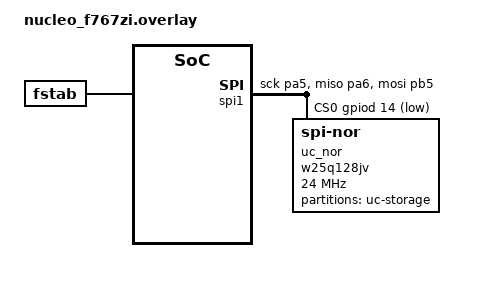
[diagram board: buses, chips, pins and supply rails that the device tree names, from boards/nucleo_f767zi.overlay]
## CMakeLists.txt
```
# SPDX-License-Identifier: Apache-2.0

cmake_minimum_required(VERSION 3.20.0)

find_package(Zephyr REQUIRED HINTS $ENV{ZEPHYR_BASE})
project(bacnet_uc)

target_include_directories(app PRIVATE include src)

target_sources(app PRIVATE
  src/main.c
  src/common/uc_common.c
  src/storage/uc_storage.c
  src/config/uc_config.c
  src/net/uc_net.c
  src/bacnet/uc_bn_node.c
  src/bacnet/uc_bn_local.c
  src/bacnet/uc_bn_client.c
  src/bacnet/uc_bn_cov.c
  src/io/uc_io.c
)

target_sources_ifdef(CONFIG_LOG_BACKEND_FS app PRIVATE
  src/storage/uc_log_sync.c
)

target_sources_ifdef(CONFIG_UC_APPS app PRIVATE
  src/apps/uc_app_mgr.c
  src/apps/uc_app_host_api.c
)

target_sources_ifdef(CONFIG_UC_MGMT app PRIVATE
  src/mgmt/uc_mgmt_util.c
  src/mgmt/uc_mgmt_app.c
  src/mgmt/uc_mgmt_io.c
  src/mgmt/uc_mgmt_node.c
)

target_sources_ifdef(CONFIG_UC_SHELL app PRIVATE
  src/shell/uc_shell.c
)
```

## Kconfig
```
# SPDX-License-Identifier: Apache-2.0

mainmenu "BACnet-uc firmware"

menu "BACnet-uc"

config UC_FW_VERSION
	string "Firmware version string"
	default "0.1.0"

# --- storage ------------------------------------------------------------

config UC_STORAGE_FORMAT_ON_FAIL
	bool "Format /lfs when mounting fails"
	default y

# /lfs on a jedec,spi-nor flash (NUCLEO-F767ZI overlay): the flash page
# size of the driver becomes the LittleFS block size. 4 KiB (the erase
# sector of the W25Q family) instead of the driver's 64 KiB default gives
# 4096 blocks on a 16 MiB chip and small files one 4 KiB block each. Set
# here rather than in the board .conf so that builds without the flash node
# (uc-ramfs snippet) do not warn about an unused assignment.
config SPI_NOR_FLASH_LAYOUT_PAGE_SIZE
	default 4096
	depends on SPI_NOR

# --- configuration documents -------------------------------------------

config UC_CONFIG_DOC_MAX
	int "Maximum size of a configuration document (bytes)"
	default 8192

config UC_DEVICE_INSTANCE_DEFAULT
	int "Default BACnet device instance (no device.json)"
	range 0 4194302
	default 260001

config UC_DEVICE_NAME_DEFAULT
	string "Default BACnet device name (no device.json)"
	default "bacnet-uc"

# --- BACnet -------------------------------------------------------------

config UC_BACNET_THREAD_STACK_SIZE
	int "BACnet thread stack size"
	default 8192

config UC_BACNET_THREAD_PRIORITY
	int "BACnet thread priority"
	default 5

config UC_BACNET_POLL_MS
	int "BACnet loop period (ms)"
	default 5

config UC_BACNET_EXEC_QUEUE_LEN
	int "Executor queue length"
	default 16

config UC_BACNET_CLIENT_SLOTS
	int "Concurrent remote client transactions"
	default 8

config UC_BACNET_COV_SUBS_MAX
	int "Application COV subscriptions (local + remote)"
	default 16

config UC_BACNET_COV_POLL_MS
	int "Poll period when a remote device does not support COV (ms)"
	default 2000

config UC_BACNET_STATIC_BINDINGS_MAX
	int "Static device bindings from device.json"
	default 16

config UC_BACNET_OBJECTS_MAX
	int "Owner table size (objects created by IO, apps and CreateObject)"
	default 64

config UC_BACNET_REMOTE_CREATE_DELETE
	bool "Accept CreateObject/DeleteObject from the network"
	help
	  n: both services are not registered; BACnet clients get a Reject
	  (unrecognized-service) and Protocol_Services_Supported omits them.
	  y: clients may create AI, AO, AV, BI, BO, BV, MSI, MSO and MSV
	  objects (owner "network", one owner table entry each, RAM only) and
	  delete only those. Objects of the system, of io.json and of
	  applications answer Error object/object-deletion-not-permitted.

config UC_BACNET_REQUIRE_PASSWORD
	bool "Refuse ReinitializeDevice and DCC without a configured password"
	default y
	help
	  ReinitializeDevice and DeviceCommunicationControl use device.json
	  bacnet.password (1..20 characters) when it is set. Without one:
	  y: both services answer Error security/password-failure;
	  n: both services are accepted without a password (open device).

config UC_NET_WAIT_MS
	int "Time to wait for an IPv4 address before starting BACnet anyway (ms)"
	default 30000

# --- IO -----------------------------------------------------------------

config UC_IO_POINTS_MAX
	int "IO points in io.json"
	default 32

# --- WebAssembly applications ------------------------------------------

config UC_APPS
	bool "WebAssembly applications"
	default y
	select WAMR

# Table sizes are used by the configuration module even without the
# runtime (apps.json is still parsed and served), so they live outside
# "if UC_APPS".
config UC_APPS_MAX
	int "Installed applications"
	range 1 8
	default 4

config UC_APP_PARAMS_MAX
	int "Parameters per application"
	default 16

if UC_APPS

config UC_APP_POOL_SIZE
	int "WAMR memory pool (bytes)"
	default 131072
	help
	  All module images, instances, linear memories and app heaps are
	  allocated from this pool.

config UC_APP_THREAD_STACK_SIZE
	int "Native stack of an application thread"
	default 8192

config UC_APP_THREAD_PRIORITY
	int "Application thread priority (preemptible, lower than BACnet)"
	default 10

config UC_APP_MAX_FILE_SIZE
	int "Maximum module size (bytes)"
	default 262144

config UC_APP_WATCHDOG_MS
	int "Execution time budget of one application callback (ms)"
	default 2000
	help
	  A callback (uc_app_init, uc_app_tick, uc_app_on_cov, uc_app_on_write,
	  uc_app_deinit) that executes longer is terminated
	  (wasm_runtime_terminate()) and the application enters "failed". Time
	  blocked in remote requests and kv file access does not count, except
	  while a stop is pending: a stop cancels the blocking host calls, so
	  the rest of the running callback and uc_app_deinit() each end within
	  this period, and uc_apps_stop() waits at most 2 x this period + 8 s.
	  The timer runs in real time on the boards. On native_sim simulated
	  time stands still while a callback computes, so the timer cannot stop
	  a busy loop there; WAMR_INSTRUCTION_LIMIT (an instruction budget per
	  call, interpreter only) does.

config UC_APP_EVENT_QUEUE_LEN
	int "Pending events per application"
	default 16

config UC_APP_KV_VALUE_MAX
	int "Maximum value size of the app key/value store"
	default 256

endif # UC_APPS

# --- management ---------------------------------------------------------

config UC_MGMT
	bool "Custom MCUmgr groups (uc_app, uc_io, uc_node)"
	default y
	depends on MCUMGR

config UC_SHELL
	bool "'uc' shell commands"
	default y
	depends on SHELL

module = UC
module-str = BACnet-uc
source "subsys/logging/Kconfig.template.log_config"

endmenu

source "Kconfig.zephyr"
```

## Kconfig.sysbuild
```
# SPDX-License-Identifier: Apache-2.0
#
# Sysbuild Kconfig of the BACnet-uc firmware (west build --sysbuild only).
#
# NUCLEO-F767ZI: the image slots consist of three 256 KiB sectors. In the
# default swap-using-offset mode the secondary slot must hold one extra
# sector, which would limit the firmware to 512 KiB; swap using the board's
# scratch partition keeps the full 768 KiB slot.

choice MCUBOOT_MODE
	default MCUBOOT_MODE_SWAP_SCRATCH if BOARD_NUCLEO_F767ZI
endchoice

source "share/sysbuild/Kconfig"
```

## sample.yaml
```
# SPDX-License-Identifier: Apache-2.0
#
# Twister build scenarios for the BACnet-uc firmware (build only; runtime
# tests are in tests/unit and in the MCP harness):
#
#   west twister -T BACNet-uc/firmware -p native_sim/native/64 \
#       -p nucleo_f767zi -p frdm_mcxn947/mcxn947/cpu0
sample:
  name: BACnet-uc firmware
  description: >
    BACnet/IP node with LittleFS, MCUmgr/SMP management and WebAssembly
    applications (WAMR).
common:
  build_only: true
  tags:
    - bacnet_uc
  platform_allow:
    - native_sim/native/64
    - nucleo_f767zi
    - frdm_mcxn947/mcxn947/cpu0
  integration_platforms:
    - native_sim/native/64
    - nucleo_f767zi
    - frdm_mcxn947/mcxn947/cpu0
tests:
  bacnet_uc.firmware:
    tags:
      - bacnet_uc
  bacnet_uc.firmware.syslog:
    extra_args:
      - EXTRA_CONF_FILE=overlay-syslog.conf
  bacnet_uc.firmware.ramfs:
    platform_allow:
      - nucleo_f767zi
      - frdm_mcxn947/mcxn947/cpu0
    integration_platforms:
      - nucleo_f767zi
    extra_args:
      - SNIPPET=uc-ramfs
  # MCUboot + signed firmware: sysbuild.conf, sysbuild/firmware.conf and
  # sysbuild/mcuboot.conf are applied by sysbuild itself (F767: swap using
  # scratch from Kconfig.sysbuild, MCXN947: swap using offset, the default).
  bacnet_uc.firmware.mcuboot.f767:
    sysbuild: true
    platform_allow:
      - nucleo_f767zi
    integration_platforms:
      - nucleo_f767zi
  bacnet_uc.firmware.mcuboot.mcxn947:
    sysbuild: true
    platform_allow:
      - frdm_mcxn947/mcxn947/cpu0
    integration_platforms:
      - frdm_mcxn947/mcxn947/cpu0
```

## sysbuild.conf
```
# SPDX-License-Identifier: Apache-2.0
#
# Sysbuild configuration, used only by `west build --sysbuild` (a plain
# `west build` ignores this file and builds the firmware without a
# bootloader, linked at the start of the flash).
#
#   west build --sysbuild -b nucleo_f767zi BACNet-uc/firmware -d build-f767-mcuboot
#   west flash -d build-f767-mcuboot      # MCUboot + signed firmware
#
# Result: MCUboot in boot_partition, the firmware (signed with the MCUboot
# development key, NOT for production) in slot0_partition, firmware updates
# through the SMP image group (uc harness / mcumgr / smpmgr "image upload",
# "image test", "reset"). sysbuild/firmware.conf adds the application
# settings for the image group, sysbuild/mcuboot.conf the bootloader
# settings. The swap mode per board is selected in Kconfig.sysbuild:
#   nucleo_f767zi              swap using scratch (256 KiB sectors; slot0
#                              and slot1 768 KiB, scratch 256 KiB)
#   frdm_mcxn947/mcxn947/cpu0  swap using offset (8 KiB sectors, 984 KiB
#                              slots)
SB_CONFIG_BOOTLOADER_MCUBOOT=y
SB_CONFIG_BOOT_SIGNATURE_TYPE_ECDSA_P256=y
```

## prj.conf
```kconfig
# SPDX-License-Identifier: Apache-2.0
#
# BACnet-uc firmware - common configuration for all boards.
# Board specifics live in boards/<board>.conf and boards/<board>.overlay.

# --- kernel / libc -------------------------------------------------------
CONFIG_MAIN_STACK_SIZE=4096
CONFIG_SYSTEM_WORKQUEUE_STACK_SIZE=4096
CONFIG_HEAP_MEM_POOL_SIZE=65536
CONFIG_REQUIRES_FULL_LIBC=y
CONFIG_CBPRINTF_FP_SUPPORT=y
CONFIG_THREAD_NAME=y
CONFIG_THREAD_STACK_INFO=y
CONFIG_THREAD_MONITOR=y
CONFIG_INIT_STACKS=y
CONFIG_REBOOT=y
CONFIG_ASSERT=n

# --- storage -------------------------------------------------------------
# LittleFS at /lfs from the devicetree fstab entry "uc_lfs" (board overlays,
# snippet uc-ramfs). uc_storage formats it when mounting fails
# (CONFIG_UC_STORAGE_FORMAT_ON_FAIL).
CONFIG_FLASH=y
CONFIG_FLASH_MAP=y
CONFIG_FILE_SYSTEM=y
CONFIG_FILE_SYSTEM_LITTLEFS=y
CONFIG_FILE_SYSTEM_MKFS=y
# open files: log backend, SMP fs group, config, apps, kv store. The file
# cache heap is NUM_FILES x CACHE_SIZE; CACHE_SIZE must equal the largest
# fstab "cache-size" (256 in all overlays and the uc-ramfs snippet).
CONFIG_FS_LITTLEFS_NUM_FILES=8
CONFIG_FS_LITTLEFS_NUM_DIRS=4
CONFIG_FS_LITTLEFS_CACHE_SIZE=256
# configuration documents (uc_config parses numbers itself, no JSON FP support needed)
CONFIG_JSON_LIBRARY=y
# SHA-256 of files (uc_storage_sha256, app install verification)
CONFIG_PSA_CRYPTO=y
CONFIG_PSA_WANT_ALG_SHA_256=y

# --- logging -------------------------------------------------------------
# Runtime level of all sources from device.json "log.level" (default inf).
# BACnet-uc modules are compiled with debug messages so that "dbg" works.
CONFIG_LOG=y
CONFIG_LOG_MODE_DEFERRED=y
CONFIG_LOG_BUFFER_SIZE=4096
CONFIG_LOG_RUNTIME_FILTERING=y
CONFIG_UC_LOG_LEVEL_DBG=y
CONFIG_LOG_BACKEND_FS=y
CONFIG_LOG_BACKEND_FS_DIR="/lfs/log"
CONFIG_LOG_BACKEND_FS_FILES_LIMIT=4
CONFIG_LOG_BACKEND_FS_FILE_SIZE=16384

# --- shell ---------------------------------------------------------------
CONFIG_SHELL=y
CONFIG_SHELL_STACK_SIZE=4096
CONFIG_KERNEL_SHELL=y
CONFIG_FILE_SYSTEM_SHELL=y
CONFIG_NET_SHELL=y

# --- networking ----------------------------------------------------------
CONFIG_NETWORKING=y
CONFIG_NET_IPV4=y
CONFIG_NET_IPV6=n
CONFIG_NET_UDP=y
CONFIG_NET_TCP=n
CONFIG_NET_SOCKETS=y
CONFIG_NET_DHCPV4=y
CONFIG_NET_MGMT=y
CONFIG_NET_MGMT_EVENT=y
CONFIG_NET_CONNECTION_MANAGER=y
CONFIG_NET_IF_UNICAST_IPV4_ADDR_COUNT=2
CONFIG_NET_IF_MCAST_IPV4_ADDR_COUNT=2
CONFIG_NET_MAX_CONTEXTS=10
CONFIG_ZVFS_OPEN_MAX=16
CONFIG_NET_PKT_RX_COUNT=16
CONFIG_NET_PKT_TX_COUNT=16
CONFIG_NET_BUF_RX_COUNT=32
CONFIG_NET_BUF_TX_COUNT=32
CONFIG_NET_TX_STACK_SIZE=2048
CONFIG_NET_RX_STACK_SIZE=2048

# --- management (MCUmgr / SMP) --------------------------------------------
CONFIG_NET_BUF=y
CONFIG_ZCBOR=y
CONFIG_MCUMGR=y
CONFIG_MCUMGR_TRANSPORT_UDP=y
CONFIG_MCUMGR_TRANSPORT_UDP_IPV4=y
CONFIG_MCUMGR_TRANSPORT_UDP_MTU=1024
CONFIG_MCUMGR_TRANSPORT_NETBUF_SIZE=1152
CONFIG_BASE64=y
CONFIG_SHELL_BACKEND_DUMMY=y
CONFIG_MCUMGR_TRANSPORT_SHELL=y
# SMP over the console: every received line (<= 127 bytes) occupies one
# buffer until the shell thread has reassembled it. Clients size requests
# from the 1152-byte SMP buffer (os mcumgr_params) and a 1152-byte request
# is 13 lines sent back to back; with the default of 2 buffers lines are
# dropped ("Failed to alloc SMP buf"). ~2.4 KiB of RAM.
CONFIG_MCUMGR_TRANSPORT_SHELL_RX_BUF_COUNT=16
CONFIG_MCUMGR_GRP_OS=y
CONFIG_MCUMGR_GRP_OS_INFO=y
CONFIG_MCUMGR_GRP_OS_MCUMGR_PARAMS=y
CONFIG_MCUMGR_GRP_FS=y
# modules up to CONFIG_UC_APP_MAX_FILE_SIZE (256 KiB): the download chunk
# framing must hold offsets above 64 KiB
CONFIG_MCUMGR_GRP_FS_MAX_FILE_SIZE_4GB=y
# same limit as UC_PATH_MAX (96 incl. NUL): app key/value files are
# /lfs/data/<app>/<key>, up to 65 characters (default limit 64)
CONFIG_MCUMGR_GRP_FS_PATH_LEN=95
CONFIG_MCUMGR_GRP_FS_CHECKSUM_HASH=y
CONFIG_MCUMGR_GRP_FS_HASH_SHA256=y
CONFIG_MCUMGR_GRP_STAT=y
CONFIG_MCUMGR_GRP_SHELL=y
CONFIG_STATS=y
# SMP handlers run in this work queue: the uc_node reload handler parses
# JSON documents and uc_app install hashes files (default 2048).
CONFIG_MCUMGR_TRANSPORT_WORKQUEUE_STACK_SIZE=4096

# --- BACnet --------------------------------------------------------------
CONFIG_BACNETSTACK=y
CONFIG_BACNET_BASIC_SERVER=y
CONFIG_BACDL_BIP=y
CONFIG_BACDL_BIP_PORT=47808
CONFIG_BACNET_MAX_TSM_TRANSACTIONS=16
CONFIG_BACNET_MAX_ADDRESS_CACHE=32
CONFIG_BACNET_MAX_CHARACTER_STRING_BYTES=64
CONFIG_BACNET_BASIC_COV_SUBSCRIPTIONS_SIZE=16
CONFIG_BACNET_BASIC_OBJECT_NETWORK_PORT=y
CONFIG_BACNET_BASIC_OBJECT_ANALOG_INPUT=y
CONFIG_BACNET_BASIC_OBJECT_ANALOG_OUTPUT=y
CONFIG_BACNET_BASIC_OBJECT_ANALOG_VALUE=y
CONFIG_BACNET_BASIC_OBJECT_BINARY_INPUT=y
CONFIG_BACNET_BASIC_OBJECT_BINARY_OUTPUT=y
CONFIG_BACNET_BASIC_OBJECT_BINARY_VALUE=y
CONFIG_BACNET_BASIC_OBJECT_MULTISTATE_INPUT=y
CONFIG_BACNET_BASIC_OBJECT_MULTISTATE_OUTPUT=y
CONFIG_BACNET_BASIC_OBJECT_MULTISTATE_VALUE=y
# Application value types: minimal set + DOUBLE (+ HOST_N_PORT, used by
# netport.c). Keeps BACNET_APPLICATION_DATA_VALUE at ~112 bytes instead of
# ~1.5 KB with all types (the default when none is selected).
CONFIG_BACAPP_MINIMAL=y
CONFIG_BACAPP_DOUBLE=y
CONFIG_BACAPP_HOST_N_PORT=y
# The stack is only touched by the BACnet thread; the stack's own 'bacnet'
# shell commands would call it from the shell thread.
CONFIG_BACNETSTACK_BACNET_SHELL=n

# --- IO ------------------------------------------------------------------
# Drivers behind the IO channel catalog (boards/io/<board>.dtsi). The
# controller drivers follow the devicetree; on native_sim all channels are
# simulated and only the emulators get built.
CONFIG_GPIO=y
CONFIG_ADC=y
CONFIG_PWM=y

# --- WebAssembly ---------------------------------------------------------
CONFIG_UC_APPS=y
CONFIG_WAMR_FAST_INTERP=y
# The application watchdog (CONFIG_UC_APP_WATCHDOG_MS) stops runaway
# callbacks with wasm_runtime_terminate(), which interrupts a running
# interpreter only with the thread manager's suspend-flag checks.
CONFIG_WAMR_THREAD_MGR=y
```

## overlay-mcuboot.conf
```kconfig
# SPDX-License-Identifier: Apache-2.0
#
# Firmware image for an MCUboot that is already on the board (built
# separately), without sysbuild:
#
#   west build -b nucleo_f767zi BACNet-uc/firmware -- \
#       -DEXTRA_CONF_FILE=overlay-mcuboot.conf
#
# With `west build --sysbuild` this is done by sysbuild.conf and
# sysbuild/firmware.conf instead. The image is linked to slot0_partition
# (zephyr,code-partition) and signed by west (zephyr.signed.bin) when
# CONFIG_MCUBOOT_SIGNATURE_KEY_FILE is set.
CONFIG_BOOTLOADER_MCUBOOT=y
CONFIG_FLASH=y
CONFIG_FLASH_MAP=y
CONFIG_STREAM_FLASH=y
CONFIG_IMG_MANAGER=y
CONFIG_MCUBOOT_IMG_MANAGER=y
CONFIG_MCUMGR_GRP_IMG=y
CONFIG_MCUMGR_GRP_OS_BOOTLOADER_INFO=y
```

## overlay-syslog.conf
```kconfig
# SPDX-License-Identifier: Apache-2.0
#
# Remote logging: every log message (all modules and the WebAssembly apps'
# uc_log()) is also sent as an RFC 5424 syslog message over UDP.
#
#   west build -b <board> BACNet-uc/firmware -- \
#       -DEXTRA_CONF_FILE=overlay-syslog.conf \
#       '-DCONFIG_LOG_BACKEND_NET_SERVER="192.168.10.10:514"'
#
# Server syntax: "a.b.c.d[:port]" (UDP, default port 514) or
# "tcp://a.b.c.d[:port]". With DHCPv4 the log server option (7) of the
# DHCP server overrides the address. The backend starts when the network
# is connected (connection manager) and uses the device-wide runtime log
# level (device.json "log.level").
CONFIG_LOG_BACKEND_NET=y
CONFIG_LOG_BACKEND_NET_SERVER="192.0.2.1:514"
CONFIG_LOG_BACKEND_NET_AUTOSTART=y
CONFIG_LOG_BACKEND_NET_USE_DHCPV4_OPTION=y

# syslog HOSTNAME: "bacnet-uc-" + last MAC bytes, distinct per node
CONFIG_NET_HOSTNAME_ENABLE=y
CONFIG_NET_HOSTNAME="bacnet-uc"
CONFIG_NET_HOSTNAME_UNIQUE=y
```

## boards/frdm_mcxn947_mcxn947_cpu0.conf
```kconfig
# SPDX-License-Identifier: Apache-2.0
#
# FRDM-MCXN947 cpu0: Cortex-M33 150 MHz, 2 MiB internal flash, 384 KiB RAM
# used by Zephyr (sram0, see the overlay) + 96 KiB SRAMX, ENET QOS
# Ethernet, /lfs on the 8 MiB FlexSPI NOR flash (see
# frdm_mcxn947_mcxn947_cpu0.overlay).

# Hardware floating point; WAMR is then built for THUMBV8M.MAIN_VFP and AOT
# modules must be compiled with the hard-float ABI.
CONFIG_FPU=y
CONFIG_FP_HARDABI=y

# Ethernet (eth_nxp_enet_qos)
CONFIG_NET_L2_ETHERNET=y

# RAM budget. SRAMX (96 KiB): WAMR pool (chosen uc,app-pool in the
# overlay). SRAM A-G (384 KiB, see the overlay): kernel heap 64 KiB
# (k_malloc: JSON documents, parse scratch, shell/SMP snapshots), malloc
# arena 64 KiB (picolibc malloc: bacnet-stack objects created from io.json
# and by apps, PSA crypto) and ~230 KiB of static data (network buffers,
# thread stacks, BACnet tables, configuration caches); the rest (~33 KiB)
# is margin. The arena has a fixed size so that the linker fails instead of
# silently shrinking it (default -1: whatever RAM is left). Minimum arena:
# 24 KiB (uc-ramfs snippet: 32 KiB, see its boards/ram.conf).
CONFIG_UC_APP_POOL_SIZE=98304
CONFIG_HEAP_MEM_POOL_SIZE=65536
CONFIG_COMMON_LIBC_MALLOC_ARENA_SIZE=65536
```

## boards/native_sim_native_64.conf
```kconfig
# SPDX-License-Identifier: Apache-2.0
#
# native_sim/native/64 (64-bit host executable build/zephyr/zephyr.exe).
#
# Networking: Native Simulator Offloaded Sockets (NSOS). Every Zephyr socket
# is a host socket: SMP listens on UDP 1337 and BACnet/IP on the device.json
# UDP port (default 47808) of the host. Run several nodes on one host with
# distinct bacnet.udp_port values and bacnet.static_bindings (127.0.0.1) in
# device.json, and a distinct --flash=<file> per node.
#
# NSOS provides one offloaded interface ("nsos_socket") without IPv4
# configuration and without DHCP. The BACnet/IP port code (bacnet-stack-zephyr
# bip-init.c) needs an IPv4 address and netmask on the interface to derive
# its own address and the broadcast address, so uc_net assigns one:
#   - device.json network.dhcp=false: network.ipv4/netmask (must be an
#     address of the host, otherwise bind() fails),
#   - otherwise: 127.0.0.1/255.0.0.0 (loopback).
# NSOS does not forward SO_BROADCAST to the host socket, so the host rejects
# BACnet broadcasts (Who-Is, I-Am); bind remote devices with static bindings.
#
# The TAP Ethernet driver (would need /dev/net/tun and root) is disabled so
# that the NSOS interface is the only and therefore the default interface.
CONFIG_NET_DRIVERS=y
CONFIG_NET_SOCKETS_OFFLOAD=y
CONFIG_NET_NATIVE_OFFLOADED_SOCKETS=y
CONFIG_ETH_NATIVE_TAP=n
CONFIG_ENTROPY_GENERATOR=y
CONFIG_TEST_RANDOM_GENERATOR=y
# NSOS uses AF_UNIX-sized socket addresses (110 bytes)
CONFIG_MCUMGR_TRANSPORT_NETBUF_USER_DATA_SIZE=112

# sys_reboot() (SMP os reset, uc_node reboot) restarts the executable with
# the same arguments instead of exiting.
CONFIG_NATIVE_SIM_REBOOT=y

# SMP over the console pty (harness SerialTransport, mcumgr/smpmgr serial):
# the shell's SMP transport needs an interrupt-driven shell backend; with the
# default polling backend multi-line SMP frames are lost.
CONFIG_UART_INTERRUPT_DRIVEN=y
CONFIG_SHELL_BACKEND_SERIAL_API_INTERRUPT_DRIVEN=y

# Storage: flash simulator backed by flash.bin, see the overlay.

# More room for WebAssembly modules than on the MCUs.
CONFIG_UC_APP_POOL_SIZE=262144
CONFIG_HEAP_MEM_POOL_SIZE=131072
```

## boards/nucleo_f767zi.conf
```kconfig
# SPDX-License-Identifier: Apache-2.0
#
# NUCLEO-F767ZI: Cortex-M7 216 MHz, 2 MiB flash, 384 KiB SRAM (zephyr,sram)
# + 128 KiB DTCM, RMII Ethernet, /lfs on an external SPI NOR flash (see
# nucleo_f767zi.overlay for the wiring).

# Hardware floating point; WAMR is then built for THUMBV7EM_VFP and AOT
# modules must be compiled with the hard-float ABI.
CONFIG_FPU=y
CONFIG_FP_HARDABI=y

# Ethernet (eth_stm32_hal, LAN8742A PHY)
CONFIG_NET_L2_ETHERNET=y

# /lfs: W25Q128JV on SPI1. CONFIG_SPI and CONFIG_SPI_NOR follow the
# devicetree (enabled by the jedec,spi-nor node of the overlay; the uc-ramfs
# snippet disables that node). The firmware Kconfig sets
# CONFIG_SPI_NOR_FLASH_LAYOUT_PAGE_SIZE=4096 (LittleFS blocks of 4 KiB, the
# W25Q sector size, instead of 64 KiB).

# RAM budget. DTCM (128 KiB): Ethernet DMA buffers ~12.3 KiB + WAMR pool
# 112 KiB (chosen uc,app-pool in the overlay). SRAM (384 KiB): kernel heap
# 64 KiB (k_malloc: JSON documents, parse scratch, shell/SMP snapshots),
# malloc arena 64 KiB (picolibc malloc: bacnet-stack objects created from
# io.json and by apps, PSA crypto) and ~230 KiB of static data (network
# buffers, thread stacks, BACnet tables, configuration caches); the rest
# (~33 KiB) is margin. The arena has a fixed size so that the linker fails
# instead of silently shrinking it (default -1: whatever RAM is left).
# Minimum arena: 24 KiB (uc-ramfs snippet: 32 KiB, see its boards/ram.conf).
CONFIG_UC_APP_POOL_SIZE=114688
CONFIG_HEAP_MEM_POOL_SIZE=65536
CONFIG_COMMON_LIBC_MALLOC_ARENA_SIZE=65536
```

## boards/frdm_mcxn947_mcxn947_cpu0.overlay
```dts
/*
 * SPDX-License-Identifier: Apache-2.0
 *
 * FRDM-MCXN947 (cpu0)
 *
 * Storage: the board's storage_partition on the 8 MiB Winbond W25Q64JV QSPI
 * NOR flash on FlexSPI (4 KiB erase blocks), shrunk to the first 8128 KiB
 * (0x000000-0x7EFFFF). The top 64 KiB (0x7F0000-0x7FFFFF) stay reserved for
 * the settings partition of the MQTT firmware in this repository (branch
 * claude/inter-session-communication-h989ye), so both firmwares can be
 * flashed alternately on one board without wiping each other's data.
 * LittleFS only ever formats this partition. The application runs from the
 * internal flash, so the external flash is used for data only.
 *
 * Network: ENET QOS with the on-board PHY (RMII). The board default
 * zephyr,random-mac-address is replaced by a MAC derived from the silicon
 * unique ID so that the node keeps its DHCP lease across reboots.
 *
 * RAM: the firmware does not use cpu1, so cpu0 gets SRAM A-G (384 KiB at
 * 0x20000000, the split suggested by the board's cpu0 dtsi) instead of the
 * default 320 KiB; SRAM H (32 KiB, shared memory) stays unused. The WAMR
 * pool (CONFIG_UC_APP_POOL_SIZE) fills SRAMX (96 KiB, chosen "uc,app-pool").
 * Budget: frdm_mcxn947_mcxn947_cpu0.conf.
 */

#include "io/frdm_mcxn947_mcxn947_cpu0.dtsi"

&sram0 {
	reg = <0x20000000 DT_SIZE_K(384)>;
};

/* Leave the top 64 KiB of the W25Q64 to other firmwares (see above). */
&storage_partition {
	reg = <0x0 0x7f0000>;
};

/* cpu1's RAM (SRAM G) is now part of sram0 */
/delete-node/ &sramg;

&enet_mac {
	/delete-property/ zephyr,random-mac-address;
	nxp,unique-mac;
};

/ {
	chosen {
		uc,app-pool = &sramx;
	};

	fstab {
		compatible = "zephyr,fstab";

		uc_lfs: lfs {
			compatible = "zephyr,fstab,littlefs";
			mount-point = "/lfs";
			partition = <&storage_partition>;
			automount;
			/* formatting is decided by uc_storage (CONFIG_UC_STORAGE_FORMAT_ON_FAIL) */
			no-format;
			read-size = <16>;
			prog-size = <16>;
			cache-size = <256>;
			lookahead-size = <256>;
			block-cycles = <512>;
		};
	};
};
```

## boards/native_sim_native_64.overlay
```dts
/*
 * SPDX-License-Identifier: Apache-2.0
 *
 * native_sim/native/64 (host executable).
 *
 * Storage: LittleFS on the flash simulator. The simulated flash is 2 MiB
 * with 4 KiB erase blocks and is backed by the file flash.bin in the
 * current working directory, so /lfs survives restarts. Useful options of
 * zephyr.exe:  --flash=<file>  (one file per simulated node),
 *              --flash_erase   (start with an erased flash),
 *              --flash_rm      (delete the file on exit).
 * The board's MCUboot secondary/scratch/storage partitions are replaced by
 * one 1580 KiB storage partition (the executable does not run from flash).
 */

#include "io/native_sim_native_64.dtsi"

/delete-node/ &slot1_partition;
/delete-node/ &scratch_partition;
/delete-node/ &storage_partition;

&flash0 {
	partitions {
		storage_partition: partition@75000 {
			label = "storage";
			reg = <0x00075000 0x0018b000>;
		};
	};
};

/ {
	fstab {
		compatible = "zephyr,fstab";

		uc_lfs: lfs {
			compatible = "zephyr,fstab,littlefs";
			mount-point = "/lfs";
			partition = <&storage_partition>;
			automount;
			/* formatting is decided by uc_storage (CONFIG_UC_STORAGE_FORMAT_ON_FAIL) */
			no-format;
			read-size = <16>;
			prog-size = <16>;
			cache-size = <256>;
			lookahead-size = <64>;
			block-cycles = <512>;
		};
	};
};
```

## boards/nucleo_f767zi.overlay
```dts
/*
 * SPDX-License-Identifier: Apache-2.0
 *
 * NUCLEO-F767ZI
 *
 * Storage: external SPI NOR flash, Winbond W25Q128JV (16 MiB, 4 KiB
 * sectors, 3.3 V), on SPI1 of the ST Zio connector CN7:
 *
 *   flash   MCU   connector
 *   CLK     PA5   CN7-10  (D13)
 *   DO      PA6   CN7-12  (D12)
 *   DI      PB5   CN7-13  (D22)   not PA7 (D11): PA7 is RMII CRS_DV of
 *                                 the on-board Ethernet PHY
 *   /CS     PD14  CN7-16  (D10)
 *   VCC     3V3   CN8-7,  GND  CN8-11
 *   /WP and /HOLD tied to 3V3 (on most W25Q breakout modules already)
 *
 * LittleFS uses the 4 KiB sectors as blocks (4096 blocks; the firmware
 * Kconfig sets CONFIG_SPI_NOR_FLASH_LAYOUT_PAGE_SIZE=4096), with the fstab
 * read/prog/cache sizes below (cache-size = CONFIG_FS_LITTLEFS_CACHE_SIZE).
 *
 * The internal flash is not used for data: without MCUboot the application
 * is linked at flash offset 0 and overlaps the board's storage_partition at
 * 0x10000 (the image is larger than 64 KiB).
 *
 * Network: on-board RMII Ethernet (LAN8742A); the MAC address is derived
 * from the MCU unique ID (stable across reboots).
 *
 * RAM: the WAMR pool (CONFIG_UC_APP_POOL_SIZE) lives in the 128 KiB DTCM
 * (chosen "uc,app-pool", see nucleo_f767zi.conf for the budget), next to
 * the Ethernet DMA descriptors and buffers (~12.3 KiB,
 * CONFIG_ETH_STM32_HAL_USE_DTCM_FOR_DMA_BUFFER). The 384 KiB SRAM1/2
 * (zephyr,sram) holds everything else.
 */

#include "io/nucleo_f767zi.dtsi"

&spi1 {
	pinctrl-0 = <&spi1_sck_pa5 &spi1_miso_pa6 &spi1_mosi_pb5>;
	pinctrl-names = "default";
	cs-gpios = <&gpiod 14 (GPIO_ACTIVE_LOW | GPIO_PULL_UP)>;
	status = "okay";

	uc_nor: w25q128jv@0 {
		compatible = "jedec,spi-nor";
		reg = <0>;
		spi-max-frequency = <DT_FREQ_M(24)>;
		jedec-id = [ef 40 18];
		size = <DT_SIZE_M(128)>; /* bits */
		has-dpd;
		t-enter-dpd = <3000>;
		t-exit-dpd = <3000>;
		status = "okay";

		partitions {
			compatible = "fixed-partitions";
			#address-cells = <1>;
			#size-cells = <1>;

			uc_storage_partition: partition@0 {
				label = "uc-storage";
				reg = <0x00000000 DT_SIZE_M(16)>;
			};
		};
	};
};

/ {
	chosen {
		uc,app-pool = &dtcm;
	};

	fstab {
		compatible = "zephyr,fstab";

		uc_lfs: lfs {
			compatible = "zephyr,fstab,littlefs";
			mount-point = "/lfs";
			partition = <&uc_storage_partition>;
			automount;
			/* formatting is decided by uc_storage (CONFIG_UC_STORAGE_FORMAT_ON_FAIL) */
			no-format;
			read-size = <16>;
			prog-size = <16>;
			cache-size = <256>;
			lookahead-size = <256>;
			block-cycles = <512>;
		};
	};
};
```

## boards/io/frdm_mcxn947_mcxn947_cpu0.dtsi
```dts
/*
 * SPDX-License-Identifier: Apache-2.0
 *
 * IO channel catalog: FRDM-MCXN947 cpu0 (included by
 * frdm_mcxn947_mcxn947_cpu0.overlay).
 *
 *   name  kind  hw    MCU pin  connector            notes
 *   di0   di    gpio  P0_23    SW2 user button      pressed = 1 (also Arduino A5)
 *   di1   di    gpio  P0_6     SW3 ISP button       pressed = 1
 *   di2   di    gpio  P0_29    Arduino D2           pull-up, contact to GND = 1
 *   di3   di    gpio  P0_30    Arduino D4           pull-up, contact to GND = 1
 *   do0   do    gpio  P0_10    RGB LED red          1 = on (also Arduino D9)
 *   do1   do    gpio  P0_27    RGB LED green        1 = on (also Arduino D10)
 *   do2   do    gpio  P1_2     RGB LED blue         1 = on (also Arduino D6)
 *   do3   do    gpio  P0_31    Arduino D7           push-pull, 1 = high
 *   do4   do    gpio  P0_28    Arduino D8           push-pull, 1 = high
 *   ai0   ai    adc   P0_14    Arduino A2           ADC0_B14, 0..1800 mV
 *   ai1   ai    adc   P0_22    Arduino A3           ADC0_A14, 0..1800 mV
 *   ai2   ai    adc   P0_15    Arduino A4           ADC0_B15, 0..1800 mV
 *   ao0   ao    pwm   P2_6     J3-15                FlexPWM1 SM0 A (pwm-0), 1 kHz
 *   ao1   ao    pwm   P2_7     J3-13                FlexPWM1 SM0 B (pwm-0), 1 kHz
 *   ao2   ao    pwm   P1_23    Arduino D3 (J1-8)    SCTimer0 OUT5 (pwm-1), 1 kHz
 *
 * Notes:
 * - LPADC0 uses the SoC VREF regulator at 1.8 V as reference (nxp,references
 *   of the SoC dtsi, voltage-ref 1); inputs above 1.8 V read as full scale.
 * - Arduino A0/A1 are not listed in the board's Arduino GPIO map and A5
 *   (P0_23) is SW2, so the catalog uses A2..A4.
 * - The RGB LED shares pins with Arduino D6/D9/D10 (P0_27 is also the LPSPI1
 *   chip select FC1_P3; LPSPI1 is not used by the firmware). Configuring the
 *   GPIO switches the pin mux to GPIO.
 * - Arduino D5 (P1_21) is ENET MDIO and is not used.
 * - FlexPWM1 SM0 pins P2_6/P2_7 are shared with SDHC0 D3/D2 and SAI0; the
 *   firmware enables neither.
 * - The DACs (DAC0 on Arduino D1 = P4_2, shared with LPUART2 TX; 14-bit DAC2
 *   on J3-2) are not in the catalog: the uc,io-channels binding has no DAC
 *   property.
 */

#include <zephyr/dt-bindings/adc/adc.h>
#include <zephyr/dt-bindings/adc/mcux-lpadc.h>
#include <zephyr/dt-bindings/gpio/gpio.h>
#include <zephyr/dt-bindings/pwm/pwm.h>
#include <nxp/mcx/MCXN947VDF-pinctrl.h>

&pinctrl {
	uc_pinmux_lpadc0: uc_pinmux_lpadc0 {
		group0 {
			pinmux = <ADC0_B14_PIO0_14>,
				 <ADC0_A14_PIO0_22>,
				 <ADC0_B15_PIO0_15>;
			slew-rate = "fast";
			drive-strength = "low";
		};
	};

	uc_pinmux_sctimer: uc_pinmux_sctimer {
		group0 {
			pinmux = <SCT0_OUT5_PIO1_23>;
			slew-rate = "fast";
			drive-strength = "low";
		};
	};
};

/*
 * LPADC0: single ended, 12 bit, reference VREFO (1.8 V), 131 ADC clocks
 * sampling time. channel@N is the LPADC command slot N, input-positive the
 * analog channel (side A/B) of the pin.
 */
&lpadc0 {
	pinctrl-0 = <&uc_pinmux_lpadc0>;
	pinctrl-names = "default";
	#address-cells = <1>;
	#size-cells = <0>;
	status = "okay";

	channel@0 {
		reg = <0>;
		zephyr,gain = "ADC_GAIN_1";
		zephyr,reference = "ADC_REF_EXTERNAL1";
		zephyr,vref-mv = <1800>;
		zephyr,acquisition-time = <ADC_ACQ_TIME(ADC_ACQ_TIME_TICKS, 131)>;
		zephyr,resolution = <12>;
		zephyr,input-positive = <MCUX_LPADC_CH14B>;
	};

	channel@1 {
		reg = <1>;
		zephyr,gain = "ADC_GAIN_1";
		zephyr,reference = "ADC_REF_EXTERNAL1";
		zephyr,vref-mv = <1800>;
		zephyr,acquisition-time = <ADC_ACQ_TIME(ADC_ACQ_TIME_TICKS, 131)>;
		zephyr,resolution = <12>;
		zephyr,input-positive = <MCUX_LPADC_CH14A>;
	};

	channel@2 {
		reg = <2>;
		zephyr,gain = "ADC_GAIN_1";
		zephyr,reference = "ADC_REF_EXTERNAL1";
		zephyr,vref-mv = <1800>;
		zephyr,acquisition-time = <ADC_ACQ_TIME(ADC_ACQ_TIME_TICKS, 131)>;
		zephyr,resolution = <12>;
		zephyr,input-positive = <MCUX_LPADC_CH15B>;
	};
};

&vref {
	status = "okay";
};

/* FlexPWM1 submodule 0 (alias pwm-0), board pinctrl P2_6 (A) / P2_7 (B). */
&flexpwm1_pwm0 {
	status = "okay";
};

/* SCTimer0 (alias pwm-1): only OUT5 on Arduino D3 instead of the board's
 * OUT0 on P2_2.
 */
&sc_timer {
	pinctrl-0 = <&uc_pinmux_sctimer>;
	pinctrl-names = "default";
	status = "okay";
};

/ {
	uc_io: uc-io {
		compatible = "uc,io-channels";
		board-name = "frdm_mcxn947";

		di0 {
			kind = "di";
			gpios = <&gpio0 23 (GPIO_ACTIVE_LOW | GPIO_PULL_UP)>;
			description = "SW2 user button (P0_23)";
		};

		di1 {
			kind = "di";
			gpios = <&gpio0 6 (GPIO_ACTIVE_LOW | GPIO_PULL_UP)>;
			description = "SW3 ISP button (P0_6)";
		};

		di2 {
			kind = "di";
			gpios = <&gpio0 29 (GPIO_ACTIVE_LOW | GPIO_PULL_UP)>;
			description = "Arduino D2 (P0_29), contact to GND";
		};

		di3 {
			kind = "di";
			gpios = <&gpio0 30 (GPIO_ACTIVE_LOW | GPIO_PULL_UP)>;
			description = "Arduino D4 (P0_30), contact to GND";
		};

		do0 {
			kind = "do";
			gpios = <&gpio0 10 GPIO_ACTIVE_LOW>;
			description = "RGB LED red (P0_10)";
		};

		do1 {
			kind = "do";
			gpios = <&gpio0 27 GPIO_ACTIVE_LOW>;
			description = "RGB LED green (P0_27)";
		};

		do2 {
			kind = "do";
			gpios = <&gpio1 2 GPIO_ACTIVE_LOW>;
			description = "RGB LED blue (P1_2)";
		};

		do3 {
			kind = "do";
			gpios = <&gpio0 31 GPIO_ACTIVE_HIGH>;
			description = "Arduino D7 (P0_31)";
		};

		do4 {
			kind = "do";
			gpios = <&gpio0 28 GPIO_ACTIVE_HIGH>;
			description = "Arduino D8 (P0_28)";
		};

		ai0 {
			kind = "ai";
			io-channels = <&lpadc0 0>;
			description = "Arduino A2 (P0_14, ADC0_B14) 0..1.8 V";
		};

		ai1 {
			kind = "ai";
			io-channels = <&lpadc0 1>;
			description = "Arduino A3 (P0_22, ADC0_A14) 0..1.8 V";
		};

		ai2 {
			kind = "ai";
			io-channels = <&lpadc0 2>;
			description = "Arduino A4 (P0_15, ADC0_B15) 0..1.8 V";
		};

		ao0 {
			kind = "ao";
			pwms = <&flexpwm1_pwm0 0 PWM_MSEC(1) PWM_POLARITY_NORMAL>;
			description = "J3-15 (P2_6, FlexPWM1 A0) PWM 1 kHz";
		};

		ao1 {
			kind = "ao";
			pwms = <&flexpwm1_pwm0 1 PWM_MSEC(1) PWM_POLARITY_NORMAL>;
			description = "J3-13 (P2_7, FlexPWM1 B0) PWM 1 kHz";
		};

		ao2 {
			kind = "ao";
			pwms = <&sc_timer 5 PWM_MSEC(1) PWM_POLARITY_NORMAL>;
			description = "Arduino D3 (P1_23, SCT0_OUT5) PWM 1 kHz";
		};
	};
};
```

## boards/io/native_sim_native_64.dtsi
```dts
/*
 * SPDX-License-Identifier: Apache-2.0
 *
 * IO channel catalog: native_sim/native/64 (included by
 * native_sim_native_64.overlay).
 *
 * Every channel is simulated: its value lives in RAM. Inputs are set with
 * "uc_io force" (SMP group 65) or "uc io force" (shell); outputs follow
 * their BACnet object or "uc_io write" and can be read back.
 *
 *   name  kind  initial value
 *   di0   di    0
 *   di1   di    0
 *   do0   do    0
 *   do1   do    0
 *   ai0   ai    2000 mV
 *   ai1   ai    0 mV
 *   ao0   ao    0 %
 *   ao1   ao    0 %
 */

/ {
	uc_io: uc-io {
		compatible = "uc,io-channels";
		board-name = "native_sim";

		di0 {
			kind = "di";
			simulated;
			description = "Simulated digital input 0";
		};

		di1 {
			kind = "di";
			simulated;
			description = "Simulated digital input 1";
		};

		do0 {
			kind = "do";
			simulated;
			description = "Simulated digital output 0";
		};

		do1 {
			kind = "do";
			simulated;
			description = "Simulated digital output 1";
		};

		ai0 {
			kind = "ai";
			simulated;
			initial-value = <2000>;
			description = "Simulated analog input 0 (mV)";
		};

		ai1 {
			kind = "ai";
			simulated;
			description = "Simulated analog input 1 (mV)";
		};

		ao0 {
			kind = "ao";
			simulated;
			description = "Simulated analog output 0 (%)";
		};

		ao1 {
			kind = "ao";
			simulated;
			description = "Simulated analog output 1 (%)";
		};
	};
};
```

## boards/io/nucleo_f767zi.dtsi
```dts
/*
 * SPDX-License-Identifier: Apache-2.0
 *
 * IO channel catalog: NUCLEO-F767ZI (included by nucleo_f767zi.overlay).
 *
 *   name  kind  hw    MCU pin  connector          notes
 *   di0   di    gpio  PC13     B1 USER button     pressed = 1
 *   di1   di    gpio  PF15     Arduino D2         pull-up, contact to GND = 1
 *   di2   di    gpio  PF14     Arduino D4         pull-up, contact to GND = 1
 *   do0   do    gpio  PB0      LD1 green LED
 *   do1   do    gpio  PB7      LD2 blue LED
 *   do2   do    gpio  PB14     LD3 red LED
 *   do3   do    gpio  PF13     Arduino D7         push-pull, 1 = high
 *   do4   do    gpio  PF12     Arduino D8         push-pull, 1 = high
 *   ai0   ai    adc   PA3      Arduino A0         ADC1_IN3,  0..3300 mV
 *   ai1   ai    adc   PC0      Arduino A1         ADC1_IN10, 0..3300 mV
 *   ai2   ai    adc   PC3      Arduino A2         ADC1_IN13, 0..3300 mV
 *   ai3   ai    adc   PF3      Arduino A3         ADC3_IN9,  0..3300 mV
 *   ai4   ai    adc   PF5      Arduino A4         ADC3_IN15, 0..3300 mV
 *   ai5   ai    adc   PF10     Arduino A5         ADC3_IN8,  0..3300 mV
 *   ao0   ao    pwm   PE9      Arduino D6         TIM1_CH1, 1 kHz, 0..100 %
 *   ao1   ao    pwm   PE11     Arduino D5         TIM1_CH2, 1 kHz, 0..100 %
 *   ao2   ao    pwm   PE13     Arduino D3         TIM1_CH3, 1 kHz, 0..100 %
 *
 * Pins deliberately not used: the RMII Ethernet pins (PA1, PA2, PA7, PB13,
 * PC1, PC4, PC5, PG11, PG13), the SPI1 NOR flash of the storage overlay
 * (PA5 = D13, PA6 = D12, PB5 = D22 (CN7-13), PD14 = D10), USART3 console
 * (PD8/PD9), USART6 (D0/D1), I2C1 (D14/D15).
 *
 * The board DTS declares B1 as GPIO_ACTIVE_LOW; on the Nucleo-144 (MB1137)
 * B1 pulls PC13 high when pressed (like the other Nucleo-144 board files),
 * so the catalog uses GPIO_ACTIVE_HIGH.
 */

#include <zephyr/dt-bindings/adc/adc.h>
#include <zephyr/dt-bindings/gpio/gpio.h>
#include <zephyr/dt-bindings/pwm/pwm.h>

/*
 * ADC1 (A0..A2) and ADC3 (A3..A5): 12 bit, reference VREF+ = VDDA = 3.3 V
 * (vref-mv default of st,stm32-adc), 144 cycles sampling time for sources
 * up to some 10 kOhm. The ADC clock prescaler is common to all ADCs of the
 * F7 and is raised from the board's PCLK2/2 (54 MHz, above the 36 MHz
 * limit) to PCLK2/4 = 27 MHz on both instances.
 */
&adc1 {
	pinctrl-0 = <&adc1_in3_pa3 &adc1_in10_pc0 &adc1_in13_pc3>;
	pinctrl-names = "default";
	st,adc-prescaler = <4>;
	#address-cells = <1>;
	#size-cells = <0>;
	status = "okay";

	channel@3 {
		reg = <3>;
		zephyr,gain = "ADC_GAIN_1";
		zephyr,reference = "ADC_REF_INTERNAL";
		zephyr,acquisition-time = <ADC_ACQ_TIME(ADC_ACQ_TIME_TICKS, 144)>;
		zephyr,resolution = <12>;
	};

	channel@a {
		reg = <10>;
		zephyr,gain = "ADC_GAIN_1";
		zephyr,reference = "ADC_REF_INTERNAL";
		zephyr,acquisition-time = <ADC_ACQ_TIME(ADC_ACQ_TIME_TICKS, 144)>;
		zephyr,resolution = <12>;
	};

	channel@d {
		reg = <13>;
		zephyr,gain = "ADC_GAIN_1";
		zephyr,reference = "ADC_REF_INTERNAL";
		zephyr,acquisition-time = <ADC_ACQ_TIME(ADC_ACQ_TIME_TICKS, 144)>;
		zephyr,resolution = <12>;
	};
};

&adc3 {
	pinctrl-0 = <&adc3_in9_pf3 &adc3_in15_pf5 &adc3_in8_pf10>;
	pinctrl-names = "default";
	st,adc-prescaler = <4>;
	#address-cells = <1>;
	#size-cells = <0>;
	status = "okay";

	channel@8 {
		reg = <8>;
		zephyr,gain = "ADC_GAIN_1";
		zephyr,reference = "ADC_REF_INTERNAL";
		zephyr,acquisition-time = <ADC_ACQ_TIME(ADC_ACQ_TIME_TICKS, 144)>;
		zephyr,resolution = <12>;
	};

	channel@9 {
		reg = <9>;
		zephyr,gain = "ADC_GAIN_1";
		zephyr,reference = "ADC_REF_INTERNAL";
		zephyr,acquisition-time = <ADC_ACQ_TIME(ADC_ACQ_TIME_TICKS, 144)>;
		zephyr,resolution = <12>;
	};

	channel@f {
		reg = <15>;
		zephyr,gain = "ADC_GAIN_1";
		zephyr,reference = "ADC_REF_INTERNAL";
		zephyr,acquisition-time = <ADC_ACQ_TIME(ADC_ACQ_TIME_TICKS, 144)>;
		zephyr,resolution = <12>;
	};
};

/*
 * TIM1 (advanced timer, 216 MHz kernel clock): prescaler 10 -> 21.6 MHz,
 * so a 1 ms period has 21600 steps (the board default prescaler of 10001
 * leaves 21). CH1..CH3 on Arduino D6/D5/D3.
 */
&timers1 {
	st,prescaler = <9>;
	status = "okay";

	pwm1: pwm {
		pinctrl-0 = <&tim1_ch1_pe9 &tim1_ch2_pe11 &tim1_ch3_pe13>;
		pinctrl-names = "default";
		status = "okay";
	};
};

/ {
	uc_io: uc-io {
		compatible = "uc,io-channels";
		board-name = "nucleo_f767zi";

		di0 {
			kind = "di";
			gpios = <&gpioc 13 GPIO_ACTIVE_HIGH>;
			description = "B1 user button (PC13)";
		};

		di1 {
			kind = "di";
			gpios = <&gpiof 15 (GPIO_ACTIVE_LOW | GPIO_PULL_UP)>;
			description = "Arduino D2 (PF15), contact to GND";
		};

		di2 {
			kind = "di";
			gpios = <&gpiof 14 (GPIO_ACTIVE_LOW | GPIO_PULL_UP)>;
			description = "Arduino D4 (PF14), contact to GND";
		};

		do0 {
			kind = "do";
			gpios = <&gpiob 0 GPIO_ACTIVE_HIGH>;
			description = "LD1 green LED (PB0)";
		};

		do1 {
			kind = "do";
			gpios = <&gpiob 7 GPIO_ACTIVE_HIGH>;
			description = "LD2 blue LED (PB7)";
		};

		do2 {
			kind = "do";
			gpios = <&gpiob 14 GPIO_ACTIVE_HIGH>;
			description = "LD3 red LED (PB14)";
		};

		do3 {
			kind = "do";
			gpios = <&gpiof 13 GPIO_ACTIVE_HIGH>;
			description = "Arduino D7 (PF13)";
		};

		do4 {
			kind = "do";
			gpios = <&gpiof 12 GPIO_ACTIVE_HIGH>;
			description = "Arduino D8 (PF12)";
		};

		ai0 {
			kind = "ai";
			io-channels = <&adc1 3>;
			description = "Arduino A0 (PA3, ADC1_IN3)";
		};

		ai1 {
			kind = "ai";
			io-channels = <&adc1 10>;
			description = "Arduino A1 (PC0, ADC1_IN10)";
		};

		ai2 {
			kind = "ai";
			io-channels = <&adc1 13>;
			description = "Arduino A2 (PC3, ADC1_IN13)";
		};

		ai3 {
			kind = "ai";
			io-channels = <&adc3 9>;
			description = "Arduino A3 (PF3, ADC3_IN9)";
		};

		ai4 {
			kind = "ai";
			io-channels = <&adc3 15>;
			description = "Arduino A4 (PF5, ADC3_IN15)";
		};

		ai5 {
			kind = "ai";
			io-channels = <&adc3 8>;
			description = "Arduino A5 (PF10, ADC3_IN8)";
		};

		ao0 {
			kind = "ao";
			pwms = <&pwm1 1 PWM_MSEC(1) PWM_POLARITY_NORMAL>;
			description = "Arduino D6 (PE9, TIM1_CH1) PWM 1 kHz";
		};

		ao1 {
			kind = "ao";
			pwms = <&pwm1 2 PWM_MSEC(1) PWM_POLARITY_NORMAL>;
			description = "Arduino D5 (PE11, TIM1_CH2) PWM 1 kHz";
		};

		ao2 {
			kind = "ao";
			pwms = <&pwm1 3 PWM_MSEC(1) PWM_POLARITY_NORMAL>;
			description = "Arduino D3 (PE13, TIM1_CH3) PWM 1 kHz";
		};
	};
};
```

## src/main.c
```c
/*
 * SPDX-License-Identifier: Apache-2.0
 *
 * BACnet-uc boot sequence:
 *
 *   storage (/lfs) -> configuration cache -> log level from device.json ->
 *   network -> IO channels -> BACnet thread -> WebAssembly apps -> SMP
 *   groups -> "ready"
 *
 * Every step logs its result. A failing step does not stop the boot: the
 * node stays reachable through the shell and SMP (and falls back to the
 * Kconfig defaults without storage) so that it can be repaired remotely.
 */

#include <zephyr/kernel.h>
#include <zephyr/logging/log.h>

/*
 * The guest ABI header provides UC_API_VERSION. Its guest-side prototypes
 * uc_io_find/uc_io_read/uc_io_write collide with the firmware's uc_io.h, so
 * they are renamed while it is included (only the macros are used here).
 */
#define uc_io_find  uc_guest_io_find
#define uc_io_read  uc_guest_io_read
#define uc_io_write uc_guest_io_write
#include "../../wasm/sdk/include/bacnet_uc.h"
#undef uc_io_find
#undef uc_io_read
#undef uc_io_write

#include "uc/uc_common.h"
#include "uc/uc_storage.h"
#include "uc/uc_config.h"
#include "uc/uc_net.h"
#include "uc/uc_io.h"
#include "uc/uc_bacnet.h"
#if defined(CONFIG_UC_APPS)
#include "uc/uc_apps.h"
#endif
#if defined(CONFIG_UC_MGMT)
#include "uc/uc_mgmt.h"
#endif

LOG_MODULE_REGISTER(uc_main, CONFIG_UC_LOG_LEVEL);

static void step_result(const char *step, int rc)
{
	if (rc < 0) {
		LOG_ERR("%s failed: %d (%s)", step, rc, uc_err_str(rc));
	} else {
		LOG_INF("%s ok", step);
	}
}

int main(void)
{
	static struct uc_device_cfg dev;
	char ip[16];
	int rc;

	LOG_INF("BACnet-uc %s on %s, WASM API %u.%u", CONFIG_UC_FW_VERSION,
		CONFIG_BOARD_TARGET, UC_API_VERSION_MAJOR, UC_API_VERSION_MINOR);

	rc = uc_storage_init();
	step_result("storage", rc);

	/* defaults are used for missing or rejected documents; applies the
	 * device.json log level (also on every device.json reload)
	 */
	rc = uc_config_init();
	if (rc < 0) {
		LOG_WRN("configuration: %d (%s), defaults in use for rejected documents", rc,
			uc_err_str(rc));
	} else {
		LOG_INF("configuration ok");
	}

	uc_config_get_device(&dev);
	LOG_INF("device %u \"%s\", %s, BACnet/IP UDP %u", dev.instance, dev.name,
		dev.dhcp ? "DHCPv4" : dev.ipv4, dev.udp_port);

	rc = uc_net_init(&dev);
	step_result("network", rc);

	rc = uc_io_init();
	step_result("io", rc);

	/* returns immediately; the BACnet thread waits for the network */
	rc = uc_bn_start();
	step_result("bacnet", rc);

#if defined(CONFIG_UC_APPS)
	rc = uc_apps_init();
	step_result("apps", rc);
#endif

#if defined(CONFIG_UC_MGMT)
	rc = uc_mgmt_init();
	step_result("mgmt", rc);
#endif

	rc = uc_net_wait_ready(CONFIG_UC_NET_WAIT_MS);
	uc_net_ipv4_str(ip, sizeof(ip));
	if (rc < 0) {
		LOG_WRN("no IPv4 address after %d ms", CONFIG_UC_NET_WAIT_MS);
	}
#if defined(CONFIG_MCUMGR_TRANSPORT_UDP)
	LOG_INF("ready: device %u, IPv4 %s, BACnet/IP UDP %u, SMP UDP %d", dev.instance, ip,
		dev.udp_port, CONFIG_MCUMGR_TRANSPORT_UDP_PORT);
#else
	LOG_INF("ready: device %u, IPv4 %s, BACnet/IP UDP %u", dev.instance, ip, dev.udp_port);
#endif

	return 0;
}
```
